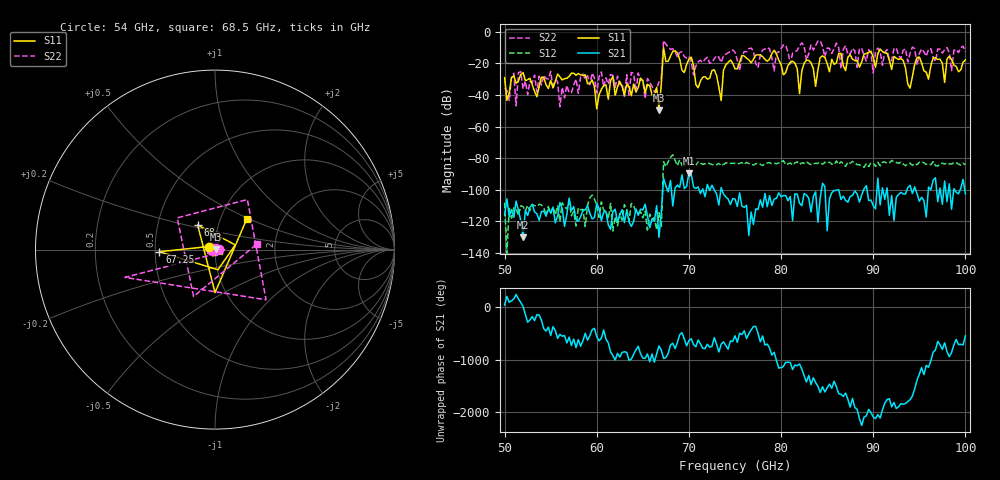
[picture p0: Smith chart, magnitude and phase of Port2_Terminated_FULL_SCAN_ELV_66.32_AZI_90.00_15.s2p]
! 11/25/2026 1:45:36 PM
! C:\ANRITSUVNA\TEMP\TEMP.S2P
! CHANNEL.1
! TR.MEASUREMENT
! RAW.DATA
# HZ S RI R 50.0
! FREQ.HZ  S11RE  S11IM  S21RE  S21IM  S12RE  S12IM  S22RE  S22IM
!; PortSelection: Port_12
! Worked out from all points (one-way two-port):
!   201 points, 50 GHz to 100 GHz, reference 50 ohm
!   highest |S21| = -89.50 dB at 70 GHz (marker M1); lowest = -130.0 dB at 52 GHz (marker M2)
!   lowest |S11| = -49.7 dB at 66.75 GHz (marker M3), VSWR 1.01, Z = 50.3 + j0.0705 ohm
!   |S11| at or under -10 dB: start of sweep to end of sweep
!   |S22| runs from -47.5 to -5.6 dB; largest |S21 - S12| = 0.00013
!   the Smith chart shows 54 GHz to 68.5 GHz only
!   S11 on the Smith chart (normalised r, x): 54 GHz: 0.93, +0.03; 67.25 GHz: 0.53, -0.01; 68 GHz: 0.80, +0.22; 68.5 GHz: 1.33, +0.49
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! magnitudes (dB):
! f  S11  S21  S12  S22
! 50 GHz  -29.1  -116.2  -108.1  -35.6
! 52 GHz  -26.0  -130.0  -110.5  -36.1
! 54 GHz  -28.7  -113.7  -109.5  -33.8
! 56 GHz  -28.6  -108.1  -120.0  -47.5
! 58.5 GHz  -27.7  -113.0  -112.4  -26.9
! 60 GHz  -48.8  -108.6  -109.9  -38.9
! 61.75 GHz  -28.4  -113.7  -126.0  -27.6
! 66.75 GHz  -49.7  -130.0  -114.4  -31.9
! 67.25 GHz  -10.2  -92.7  -82.2  -5.6
! 68 GHz  -15.5  -94.1  -79.6  -11.2
! 68.5 GHz  -12.1  -98.8  -81.4  -12.6
! 70 GHz  -17.4  -89.5  -84.2  -15.6
! 73.5 GHz  -43.6  -98.5  -84.8  -19.5
! 73.75 GHz  -24.3  -102.6  -83.9  -15.3
! 75 GHz  -23.5  -105.8  -83.3  -13.0
! 79.25 GHz  -11.8  -105.8  -83.2  -24.8
! 82 GHz  -39.2  -108.4  -84.0  -9.2
! 83.5 GHz  -23.4  -104.1  -83.5  -11.7
! 91.75 GHz  -18.2  -116.1  -83.1  -17.5
! 94 GHz  -35.7  -97.2  -83.1  -13.6
! 94.75 GHz  -16.5  -102.4  -84.1  -21.1
! 100 GHz  -17.9  -102.5  -84.2  -12.8
